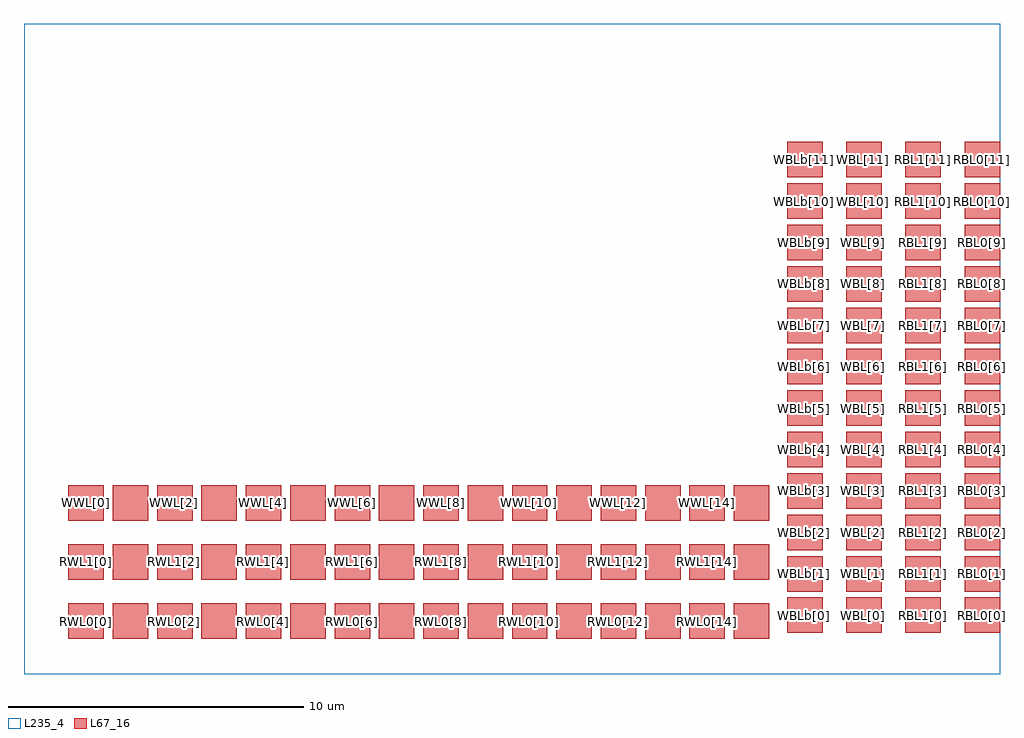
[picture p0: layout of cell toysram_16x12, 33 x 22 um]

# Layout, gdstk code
import gdstk
lib = gdstk.Library(unit=1e-6, precision=1e-09)
def R(c, l, rs):  # rectangles x0, y0, x1, y1
    for r in rs: c.add(gdstk.rectangle(r[:2], r[2:], *l))
L67_16 = (67, 16)
L235_4 = (235, 4)

rwl0_0_ = lib.new_cell('RWL0[0]')
R(rwl0_0_, L67_16, [(1.5,1.2,2.7,2.4)])

rwl0_1_ = lib.new_cell('RWL0[1]')
R(rwl0_1_, L67_16, [(3,1.2,4.2,2.4)])

rwl0_2_ = lib.new_cell('RWL0[2]')
R(rwl0_2_, L67_16, [(4.5,1.2,5.7,2.4)])

rwl0_3_ = lib.new_cell('RWL0[3]')
R(rwl0_3_, L67_16, [(6,1.2,7.2,2.4)])

rwl0_4_ = lib.new_cell('RWL0[4]')
R(rwl0_4_, L67_16, [(7.5,1.2,8.7,2.4)])

rwl0_5_ = lib.new_cell('RWL0[5]')
R(rwl0_5_, L67_16, [(9,1.2,10.2,2.4)])

rwl0_6_ = lib.new_cell('RWL0[6]')
R(rwl0_6_, L67_16, [(10.5,1.2,11.7,2.4)])

rwl0_7_ = lib.new_cell('RWL0[7]')
R(rwl0_7_, L67_16, [(12,1.2,13.2,2.4)])

rwl0_8_ = lib.new_cell('RWL0[8]')
R(rwl0_8_, L67_16, [(13.5,1.2,14.7,2.4)])

rwl0_9_ = lib.new_cell('RWL0[9]')
R(rwl0_9_, L67_16, [(15,1.2,16.2,2.4)])

rwl0_10_ = lib.new_cell('RWL0[10]')
R(rwl0_10_, L67_16, [(16.5,1.2,17.7,2.4)])

rwl0_11_ = lib.new_cell('RWL0[11]')
R(rwl0_11_, L67_16, [(18,1.2,19.2,2.4)])

rwl0_12_ = lib.new_cell('RWL0[12]')
R(rwl0_12_, L67_16, [(19.5,1.2,20.7,2.4)])

rwl0_13_ = lib.new_cell('RWL0[13]')
R(rwl0_13_, L67_16, [(21,1.2,22.2,2.4)])

rwl0_14_ = lib.new_cell('RWL0[14]')
R(rwl0_14_, L67_16, [(22.5,1.2,23.7,2.4)])

rwl0_15_ = lib.new_cell('RWL0[15]')
R(rwl0_15_, L67_16, [(24,1.2,25.2,2.4)])

rwl1_0_ = lib.new_cell('RWL1[0]')
R(rwl1_0_, L67_16, [(1.5,3.2,2.7,4.4)])

rwl1_1_ = lib.new_cell('RWL1[1]')
R(rwl1_1_, L67_16, [(3,3.2,4.2,4.4)])

rwl1_2_ = lib.new_cell('RWL1[2]')
R(rwl1_2_, L67_16, [(4.5,3.2,5.7,4.4)])

rwl1_3_ = lib.new_cell('RWL1[3]')
R(rwl1_3_, L67_16, [(6,3.2,7.2,4.4)])

rwl1_4_ = lib.new_cell('RWL1[4]')
R(rwl1_4_, L67_16, [(7.5,3.2,8.7,4.4)])

rwl1_5_ = lib.new_cell('RWL1[5]')
R(rwl1_5_, L67_16, [(9,3.2,10.2,4.4)])

rwl1_6_ = lib.new_cell('RWL1[6]')
R(rwl1_6_, L67_16, [(10.5,3.2,11.7,4.4)])

rwl1_7_ = lib.new_cell('RWL1[7]')
R(rwl1_7_, L67_16, [(12,3.2,13.2,4.4)])

rwl1_8_ = lib.new_cell('RWL1[8]')
R(rwl1_8_, L67_16, [(13.5,3.2,14.7,4.4)])

rwl1_9_ = lib.new_cell('RWL1[9]')
R(rwl1_9_, L67_16, [(15,3.2,16.2,4.4)])

rwl1_10_ = lib.new_cell('RWL1[10]')
R(rwl1_10_, L67_16, [(16.5,3.2,17.7,4.4)])

rwl1_11_ = lib.new_cell('RWL1[11]')
R(rwl1_11_, L67_16, [(18,3.2,19.2,4.4)])

rwl1_12_ = lib.new_cell('RWL1[12]')
R(rwl1_12_, L67_16, [(19.5,3.2,20.7,4.4)])

rwl1_13_ = lib.new_cell('RWL1[13]')
R(rwl1_13_, L67_16, [(21,3.2,22.2,4.4)])

rwl1_14_ = lib.new_cell('RWL1[14]')
R(rwl1_14_, L67_16, [(22.5,3.2,23.7,4.4)])

rwl1_15_ = lib.new_cell('RWL1[15]')
R(rwl1_15_, L67_16, [(24,3.2,25.2,4.4)])

wwl_0_ = lib.new_cell('WWL[0]')
R(wwl_0_, L67_16, [(1.5,5.2,2.7,6.4)])

wwl_1_ = lib.new_cell('WWL[1]')
R(wwl_1_, L67_16, [(3,5.2,4.2,6.4)])

wwl_2_ = lib.new_cell('WWL[2]')
R(wwl_2_, L67_16, [(4.5,5.2,5.7,6.4)])

wwl_3_ = lib.new_cell('WWL[3]')
R(wwl_3_, L67_16, [(6,5.2,7.2,6.4)])

wwl_4_ = lib.new_cell('WWL[4]')
R(wwl_4_, L67_16, [(7.5,5.2,8.7,6.4)])

wwl_5_ = lib.new_cell('WWL[5]')
R(wwl_5_, L67_16, [(9,5.2,10.2,6.4)])

wwl_6_ = lib.new_cell('WWL[6]')
R(wwl_6_, L67_16, [(10.5,5.2,11.7,6.4)])

wwl_7_ = lib.new_cell('WWL[7]')
R(wwl_7_, L67_16, [(12,5.2,13.2,6.4)])

wwl_8_ = lib.new_cell('WWL[8]')
R(wwl_8_, L67_16, [(13.5,5.2,14.7,6.4)])

wwl_9_ = lib.new_cell('WWL[9]')
R(wwl_9_, L67_16, [(15,5.2,16.2,6.4)])

wwl_10_ = lib.new_cell('WWL[10]')
R(wwl_10_, L67_16, [(16.5,5.2,17.7,6.4)])

wwl_11_ = lib.new_cell('WWL[11]')
R(wwl_11_, L67_16, [(18,5.2,19.2,6.4)])

wwl_12_ = lib.new_cell('WWL[12]')
R(wwl_12_, L67_16, [(19.5,5.2,20.7,6.4)])

wwl_13_ = lib.new_cell('WWL[13]')
R(wwl_13_, L67_16, [(21,5.2,22.2,6.4)])

wwl_14_ = lib.new_cell('WWL[14]')
R(wwl_14_, L67_16, [(22.5,5.2,23.7,6.4)])

wwl_15_ = lib.new_cell('WWL[15]')
R(wwl_15_, L67_16, [(24,5.2,25.2,6.4)])

rbl0_0_ = lib.new_cell('RBL0[0]')
R(rbl0_0_, L67_16, [(31.8,1.4,33,2.6)])

rbl0_1_ = lib.new_cell('RBL0[1]')
R(rbl0_1_, L67_16, [(31.8,2.8,33,4)])

rbl0_2_ = lib.new_cell('RBL0[2]')
R(rbl0_2_, L67_16, [(31.8,4.2,33,5.4)])

rbl0_3_ = lib.new_cell('RBL0[3]')
R(rbl0_3_, L67_16, [(31.8,5.6,33,6.8)])

rbl0_4_ = lib.new_cell('RBL0[4]')
R(rbl0_4_, L67_16, [(31.8,7,33,8.2)])

rbl0_5_ = lib.new_cell('RBL0[5]')
R(rbl0_5_, L67_16, [(31.8,8.4,33,9.6)])

rbl0_6_ = lib.new_cell('RBL0[6]')
R(rbl0_6_, L67_16, [(31.8,9.8,33,11)])

rbl0_7_ = lib.new_cell('RBL0[7]')
R(rbl0_7_, L67_16, [(31.8,11.2,33,12.4)])

rbl0_8_ = lib.new_cell('RBL0[8]')
R(rbl0_8_, L67_16, [(31.8,12.6,33,13.8)])

rbl0_9_ = lib.new_cell('RBL0[9]')
R(rbl0_9_, L67_16, [(31.8,14,33,15.2)])

rbl0_10_ = lib.new_cell('RBL0[10]')
R(rbl0_10_, L67_16, [(31.8,15.4,33,16.6)])

rbl0_11_ = lib.new_cell('RBL0[11]')
R(rbl0_11_, L67_16, [(31.8,16.8,33,18)])

rbl1_0_ = lib.new_cell('RBL1[0]')
R(rbl1_0_, L67_16, [(29.8,1.4,31,2.6)])

rbl1_1_ = lib.new_cell('RBL1[1]')
R(rbl1_1_, L67_16, [(29.8,2.8,31,4)])

rbl1_2_ = lib.new_cell('RBL1[2]')
R(rbl1_2_, L67_16, [(29.8,4.2,31,5.4)])

rbl1_3_ = lib.new_cell('RBL1[3]')
R(rbl1_3_, L67_16, [(29.8,5.6,31,6.8)])

rbl1_4_ = lib.new_cell('RBL1[4]')
R(rbl1_4_, L67_16, [(29.8,7,31,8.2)])

rbl1_5_ = lib.new_cell('RBL1[5]')
R(rbl1_5_, L67_16, [(29.8,8.4,31,9.6)])

rbl1_6_ = lib.new_cell('RBL1[6]')
R(rbl1_6_, L67_16, [(29.8,9.8,31,11)])

rbl1_7_ = lib.new_cell('RBL1[7]')
R(rbl1_7_, L67_16, [(29.8,11.2,31,12.4)])

rbl1_8_ = lib.new_cell('RBL1[8]')
R(rbl1_8_, L67_16, [(29.8,12.6,31,13.8)])

rbl1_9_ = lib.new_cell('RBL1[9]')
R(rbl1_9_, L67_16, [(29.8,14,31,15.2)])

rbl1_10_ = lib.new_cell('RBL1[10]')
R(rbl1_10_, L67_16, [(29.8,15.4,31,16.6)])

rbl1_11_ = lib.new_cell('RBL1[11]')
R(rbl1_11_, L67_16, [(29.8,16.8,31,18)])

wbl_0_ = lib.new_cell('WBL[0]')
R(wbl_0_, L67_16, [(27.8,1.4,29,2.6)])

wbl_1_ = lib.new_cell('WBL[1]')
R(wbl_1_, L67_16, [(27.8,2.8,29,4)])

wbl_2_ = lib.new_cell('WBL[2]')
R(wbl_2_, L67_16, [(27.8,4.2,29,5.4)])

wbl_3_ = lib.new_cell('WBL[3]')
R(wbl_3_, L67_16, [(27.8,5.6,29,6.8)])

wbl_4_ = lib.new_cell('WBL[4]')
R(wbl_4_, L67_16, [(27.8,7,29,8.2)])

wbl_5_ = lib.new_cell('WBL[5]')
R(wbl_5_, L67_16, [(27.8,8.4,29,9.6)])

wbl_6_ = lib.new_cell('WBL[6]')
R(wbl_6_, L67_16, [(27.8,9.8,29,11)])

wbl_7_ = lib.new_cell('WBL[7]')
R(wbl_7_, L67_16, [(27.8,11.2,29,12.4)])

wbl_8_ = lib.new_cell('WBL[8]')
R(wbl_8_, L67_16, [(27.8,12.6,29,13.8)])

wbl_9_ = lib.new_cell('WBL[9]')
R(wbl_9_, L67_16, [(27.8,14,29,15.2)])

wbl_10_ = lib.new_cell('WBL[10]')
R(wbl_10_, L67_16, [(27.8,15.4,29,16.6)])

wbl_11_ = lib.new_cell('WBL[11]')
R(wbl_11_, L67_16, [(27.8,16.8,29,18)])

wblb_0_ = lib.new_cell('WBLb[0]')
R(wblb_0_, L67_16, [(25.8,1.4,27,2.6)])

wblb_1_ = lib.new_cell('WBLb[1]')
R(wblb_1_, L67_16, [(25.8,2.8,27,4)])

wblb_2_ = lib.new_cell('WBLb[2]')
R(wblb_2_, L67_16, [(25.8,4.2,27,5.4)])

wblb_3_ = lib.new_cell('WBLb[3]')
R(wblb_3_, L67_16, [(25.8,5.6,27,6.8)])

wblb_4_ = lib.new_cell('WBLb[4]')
R(wblb_4_, L67_16, [(25.8,7,27,8.2)])

wblb_5_ = lib.new_cell('WBLb[5]')
R(wblb_5_, L67_16, [(25.8,8.4,27,9.6)])

wblb_6_ = lib.new_cell('WBLb[6]')
R(wblb_6_, L67_16, [(25.8,9.8,27,11)])

wblb_7_ = lib.new_cell('WBLb[7]')
R(wblb_7_, L67_16, [(25.8,11.2,27,12.4)])

wblb_8_ = lib.new_cell('WBLb[8]')
R(wblb_8_, L67_16, [(25.8,12.6,27,13.8)])

wblb_9_ = lib.new_cell('WBLb[9]')
R(wblb_9_, L67_16, [(25.8,14,27,15.2)])

wblb_10_ = lib.new_cell('WBLb[10]')
R(wblb_10_, L67_16, [(25.8,15.4,27,16.6)])

wblb_11_ = lib.new_cell('WBLb[11]')
R(wblb_11_, L67_16, [(25.8,16.8,27,18)])

toysram_16x12 = lib.new_cell('toysram_16x12')
R(toysram_16x12, L235_4, [(0,0,33,22)])
toysram_16x12.add(gdstk.Reference(rwl0_0_, (0,0)))
toysram_16x12.add(gdstk.Reference(rwl0_1_, (0,0)))
toysram_16x12.add(gdstk.Reference(rwl0_2_, (0,0)))
toysram_16x12.add(gdstk.Reference(rwl0_3_, (0,0)))
toysram_16x12.add(gdstk.Reference(rwl0_4_, (0,0)))
toysram_16x12.add(gdstk.Reference(rwl0_5_, (0,0)))
toysram_16x12.add(gdstk.Reference(rwl0_6_, (0,0)))
toysram_16x12.add(gdstk.Reference(rwl0_7_, (0,0)))
toysram_16x12.add(gdstk.Reference(rwl0_8_, (0,0)))
toysram_16x12.add(gdstk.Reference(rwl0_9_, (0,0)))
toysram_16x12.add(gdstk.Reference(rwl0_10_, (0,0)))
toysram_16x12.add(gdstk.Reference(rwl0_11_, (0,0)))
toysram_16x12.add(gdstk.Reference(rwl0_12_, (0,0)))
toysram_16x12.add(gdstk.Reference(rwl0_13_, (0,0)))
toysram_16x12.add(gdstk.Reference(rwl0_14_, (0,0)))
toysram_16x12.add(gdstk.Reference(rwl0_15_, (0,0)))
toysram_16x12.add(gdstk.Reference(rwl1_0_, (0,0)))
toysram_16x12.add(gdstk.Reference(rwl1_1_, (0,0)))
toysram_16x12.add(gdstk.Reference(rwl1_2_, (0,0)))
toysram_16x12.add(gdstk.Reference(rwl1_3_, (0,0)))
toysram_16x12.add(gdstk.Reference(rwl1_4_, (0,0)))
toysram_16x12.add(gdstk.Reference(rwl1_5_, (0,0)))
toysram_16x12.add(gdstk.Reference(rwl1_6_, (0,0)))
toysram_16x12.add(gdstk.Reference(rwl1_7_, (0,0)))
toysram_16x12.add(gdstk.Reference(rwl1_8_, (0,0)))
toysram_16x12.add(gdstk.Reference(rwl1_9_, (0,0)))
toysram_16x12.add(gdstk.Reference(rwl1_10_, (0,0)))
toysram_16x12.add(gdstk.Reference(rwl1_11_, (0,0)))
toysram_16x12.add(gdstk.Reference(rwl1_12_, (0,0)))
toysram_16x12.add(gdstk.Reference(rwl1_13_, (0,0)))
toysram_16x12.add(gdstk.Reference(rwl1_14_, (0,0)))
toysram_16x12.add(gdstk.Reference(rwl1_15_, (0,0)))
toysram_16x12.add(gdstk.Reference(wwl_0_, (0,0)))
toysram_16x12.add(gdstk.Reference(wwl_1_, (0,0)))
toysram_16x12.add(gdstk.Reference(wwl_2_, (0,0)))
toysram_16x12.add(gdstk.Reference(wwl_3_, (0,0)))
toysram_16x12.add(gdstk.Reference(wwl_4_, (0,0)))
toysram_16x12.add(gdstk.Reference(wwl_5_, (0,0)))
toysram_16x12.add(gdstk.Reference(wwl_6_, (0,0)))
toysram_16x12.add(gdstk.Reference(wwl_7_, (0,0)))
toysram_16x12.add(gdstk.Reference(wwl_8_, (0,0)))
toysram_16x12.add(gdstk.Reference(wwl_9_, (0,0)))
toysram_16x12.add(gdstk.Reference(wwl_10_, (0,0)))
toysram_16x12.add(gdstk.Reference(wwl_11_, (0,0)))
toysram_16x12.add(gdstk.Reference(wwl_12_, (0,0)))
toysram_16x12.add(gdstk.Reference(wwl_13_, (0,0)))
toysram_16x12.add(gdstk.Reference(wwl_14_, (0,0)))
toysram_16x12.add(gdstk.Reference(wwl_15_, (0,0)))
toysram_16x12.add(gdstk.Reference(rbl0_0_, (0,0)))
toysram_16x12.add(gdstk.Reference(rbl0_1_, (0,0)))
toysram_16x12.add(gdstk.Reference(rbl0_2_, (0,0)))
toysram_16x12.add(gdstk.Reference(rbl0_3_, (0,0)))
toysram_16x12.add(gdstk.Reference(rbl0_4_, (0,0)))
toysram_16x12.add(gdstk.Reference(rbl0_5_, (0,0)))
toysram_16x12.add(gdstk.Reference(rbl0_6_, (0,0)))
toysram_16x12.add(gdstk.Reference(rbl0_7_, (0,0)))
toysram_16x12.add(gdstk.Reference(rbl0_8_, (0,0)))
toysram_16x12.add(gdstk.Reference(rbl0_9_, (0,0)))
toysram_16x12.add(gdstk.Reference(rbl0_10_, (0,0)))
toysram_16x12.add(gdstk.Reference(rbl0_11_, (0,0)))
toysram_16x12.add(gdstk.Reference(rbl1_0_, (0,0)))
toysram_16x12.add(gdstk.Reference(rbl1_1_, (0,0)))
toysram_16x12.add(gdstk.Reference(rbl1_2_, (0,0)))
toysram_16x12.add(gdstk.Reference(rbl1_3_, (0,0)))
toysram_16x12.add(gdstk.Reference(rbl1_4_, (0,0)))
toysram_16x12.add(gdstk.Reference(rbl1_5_, (0,0)))
toysram_16x12.add(gdstk.Reference(rbl1_6_, (0,0)))
toysram_16x12.add(gdstk.Reference(rbl1_7_, (0,0)))
toysram_16x12.add(gdstk.Reference(rbl1_8_, (0,0)))
toysram_16x12.add(gdstk.Reference(rbl1_9_, (0,0)))
toysram_16x12.add(gdstk.Reference(rbl1_10_, (0,0)))
toysram_16x12.add(gdstk.Reference(rbl1_11_, (0,0)))
toysram_16x12.add(gdstk.Reference(wbl_0_, (0,0)))
toysram_16x12.add(gdstk.Reference(wbl_1_, (0,0)))
toysram_16x12.add(gdstk.Reference(wbl_2_, (0,0)))
toysram_16x12.add(gdstk.Reference(wbl_3_, (0,0)))
toysram_16x12.add(gdstk.Reference(wbl_4_, (0,0)))
toysram_16x12.add(gdstk.Reference(wbl_5_, (0,0)))
toysram_16x12.add(gdstk.Reference(wbl_6_, (0,0)))
toysram_16x12.add(gdstk.Reference(wbl_7_, (0,0)))
toysram_16x12.add(gdstk.Reference(wbl_8_, (0,0)))
toysram_16x12.add(gdstk.Reference(wbl_9_, (0,0)))
toysram_16x12.add(gdstk.Reference(wbl_10_, (0,0)))
toysram_16x12.add(gdstk.Reference(wbl_11_, (0,0)))
toysram_16x12.add(gdstk.Reference(wblb_0_, (0,0)))
toysram_16x12.add(gdstk.Reference(wblb_1_, (0,0)))
toysram_16x12.add(gdstk.Reference(wblb_2_, (0,0)))
toysram_16x12.add(gdstk.Reference(wblb_3_, (0,0)))
toysram_16x12.add(gdstk.Reference(wblb_4_, (0,0)))
toysram_16x12.add(gdstk.Reference(wblb_5_, (0,0)))
toysram_16x12.add(gdstk.Reference(wblb_6_, (0,0)))
toysram_16x12.add(gdstk.Reference(wblb_7_, (0,0)))
toysram_16x12.add(gdstk.Reference(wblb_8_, (0,0)))
toysram_16x12.add(gdstk.Reference(wblb_9_, (0,0)))
toysram_16x12.add(gdstk.Reference(wblb_10_, (0,0)))
toysram_16x12.add(gdstk.Reference(wblb_11_, (0,0)))
toysram_16x12.add(gdstk.Label('RWL0[0]', (2.1,1.8), layer=67, texttype=16))
toysram_16x12.add(gdstk.Label('RWL0[1]', (3.6,1.8), layer=67, texttype=16))
toysram_16x12.add(gdstk.Label('RWL0[2]', (5.1,1.8), layer=67, texttype=16))
toysram_16x12.add(gdstk.Label('RWL0[3]', (6.6,1.8), layer=67, texttype=16))
toysram_16x12.add(gdstk.Label('RWL0[4]', (8.1,1.8), layer=67, texttype=16))
toysram_16x12.add(gdstk.Label('RWL0[5]', (9.6,1.8), layer=67, texttype=16))
toysram_16x12.add(gdstk.Label('RWL0[6]', (11.1,1.8), layer=67, texttype=16))
toysram_16x12.add(gdstk.Label('RWL0[7]', (12.6,1.8), layer=67, texttype=16))
toysram_16x12.add(gdstk.Label('RWL0[8]', (14.1,1.8), layer=67, texttype=16))
toysram_16x12.add(gdstk.Label('RWL0[9]', (15.6,1.8), layer=67, texttype=16))
toysram_16x12.add(gdstk.Label('RWL0[10]', (17.1,1.8), layer=67, texttype=16))
toysram_16x12.add(gdstk.Label('RWL0[11]', (18.6,1.8), layer=67, texttype=16))
toysram_16x12.add(gdstk.Label('RWL0[12]', (20.1,1.8), layer=67, texttype=16))
toysram_16x12.add(gdstk.Label('RWL0[13]', (21.6,1.8), layer=67, texttype=16))
toysram_16x12.add(gdstk.Label('RWL0[14]', (23.1,1.8), layer=67, texttype=16))
toysram_16x12.add(gdstk.Label('RWL0[15]', (24.6,1.8), layer=67, texttype=16))
toysram_16x12.add(gdstk.Label('RWL1[0]', (2.1,3.8), layer=67, texttype=16))
toysram_16x12.add(gdstk.Label('RWL1[1]', (3.6,3.8), layer=67, texttype=16))
toysram_16x12.add(gdstk.Label('RWL1[2]', (5.1,3.8), layer=67, texttype=16))
toysram_16x12.add(gdstk.Label('RWL1[3]', (6.6,3.8), layer=67, texttype=16))
toysram_16x12.add(gdstk.Label('RWL1[4]', (8.1,3.8), layer=67, texttype=16))
toysram_16x12.add(gdstk.Label('RWL1[5]', (9.6,3.8), layer=67, texttype=16))
toysram_16x12.add(gdstk.Label('RWL1[6]', (11.1,3.8), layer=67, texttype=16))
toysram_16x12.add(gdstk.Label('RWL1[7]', (12.6,3.8), layer=67, texttype=16))
toysram_16x12.add(gdstk.Label('RWL1[8]', (14.1,3.8), layer=67, texttype=16))
toysram_16x12.add(gdstk.Label('RWL1[9]', (15.6,3.8), layer=67, texttype=16))
toysram_16x12.add(gdstk.Label('RWL1[10]', (17.1,3.8), layer=67, texttype=16))
toysram_16x12.add(gdstk.Label('RWL1[11]', (18.6,3.8), layer=67, texttype=16))
toysram_16x12.add(gdstk.Label('RWL1[12]', (20.1,3.8), layer=67, texttype=16))
toysram_16x12.add(gdstk.Label('RWL1[13]', (21.6,3.8), layer=67, texttype=16))
toysram_16x12.add(gdstk.Label('RWL1[14]', (23.1,3.8), layer=67, texttype=16))
toysram_16x12.add(gdstk.Label('RWL1[15]', (24.6,3.8), layer=67, texttype=16))
toysram_16x12.add(gdstk.Label('WWL[0]', (2.1,5.8), layer=67, texttype=16))
toysram_16x12.add(gdstk.Label('WWL[1]', (3.6,5.8), layer=67, texttype=16))
toysram_16x12.add(gdstk.Label('WWL[2]', (5.1,5.8), layer=67, texttype=16))
toysram_16x12.add(gdstk.Label('WWL[3]', (6.6,5.8), layer=67, texttype=16))
toysram_16x12.add(gdstk.Label('WWL[4]', (8.1,5.8), layer=67, texttype=16))
toysram_16x12.add(gdstk.Label('WWL[5]', (9.6,5.8), layer=67, texttype=16))
toysram_16x12.add(gdstk.Label('WWL[6]', (11.1,5.8), layer=67, texttype=16))
toysram_16x12.add(gdstk.Label('WWL[7]', (12.6,5.8), layer=67, texttype=16))
toysram_16x12.add(gdstk.Label('WWL[8]', (14.1,5.8), layer=67, texttype=16))
toysram_16x12.add(gdstk.Label('WWL[9]', (15.6,5.8), layer=67, texttype=16))
toysram_16x12.add(gdstk.Label('WWL[10]', (17.1,5.8), layer=67, texttype=16))
toysram_16x12.add(gdstk.Label('WWL[11]', (18.6,5.8), layer=67, texttype=16))
toysram_16x12.add(gdstk.Label('WWL[12]', (20.1,5.8), layer=67, texttype=16))
toysram_16x12.add(gdstk.Label('WWL[13]', (21.6,5.8), layer=67, texttype=16))
toysram_16x12.add(gdstk.Label('WWL[14]', (23.1,5.8), layer=67, texttype=16))
toysram_16x12.add(gdstk.Label('WWL[15]', (24.6,5.8), layer=67, texttype=16))
toysram_16x12.add(gdstk.Label('RBL0[0]', (32.4,2), layer=67, texttype=16))
toysram_16x12.add(gdstk.Label('RBL0[1]', (32.4,3.4), layer=67, texttype=16))
toysram_16x12.add(gdstk.Label('RBL0[2]', (32.4,4.8), layer=67, texttype=16))
toysram_16x12.add(gdstk.Label('RBL0[3]', (32.4,6.2), layer=67, texttype=16))
toysram_16x12.add(gdstk.Label('RBL0[4]', (32.4,7.6), layer=67, texttype=16))
toysram_16x12.add(gdstk.Label('RBL0[5]', (32.4,9), layer=67, texttype=16))
toysram_16x12.add(gdstk.Label('RBL0[6]', (32.4,10.4), layer=67, texttype=16))
toysram_16x12.add(gdstk.Label('RBL0[7]', (32.4,11.8), layer=67, texttype=16))
toysram_16x12.add(gdstk.Label('RBL0[8]', (32.4,13.2), layer=67, texttype=16))
toysram_16x12.add(gdstk.Label('RBL0[9]', (32.4,14.6), layer=67, texttype=16))
toysram_16x12.add(gdstk.Label('RBL0[10]', (32.4,16), layer=67, texttype=16))
toysram_16x12.add(gdstk.Label('RBL0[11]', (32.4,17.4), layer=67, texttype=16))
toysram_16x12.add(gdstk.Label('RBL1[0]', (30.4,2), layer=67, texttype=16))
toysram_16x12.add(gdstk.Label('RBL1[1]', (30.4,3.4), layer=67, texttype=16))
toysram_16x12.add(gdstk.Label('RBL1[2]', (30.4,4.8), layer=67, texttype=16))
toysram_16x12.add(gdstk.Label('RBL1[3]', (30.4,6.2), layer=67, texttype=16))
toysram_16x12.add(gdstk.Label('RBL1[4]', (30.4,7.6), layer=67, texttype=16))
toysram_16x12.add(gdstk.Label('RBL1[5]', (30.4,9), layer=67, texttype=16))
toysram_16x12.add(gdstk.Label('RBL1[6]', (30.4,10.4), layer=67, texttype=16))
toysram_16x12.add(gdstk.Label('RBL1[7]', (30.4,11.8), layer=67, texttype=16))
toysram_16x12.add(gdstk.Label('RBL1[8]', (30.4,13.2), layer=67, texttype=16))
toysram_16x12.add(gdstk.Label('RBL1[9]', (30.4,14.6), layer=67, texttype=16))
toysram_16x12.add(gdstk.Label('RBL1[10]', (30.4,16), layer=67, texttype=16))
toysram_16x12.add(gdstk.Label('RBL1[11]', (30.4,17.4), layer=67, texttype=16))
toysram_16x12.add(gdstk.Label('WBL[0]', (28.4,2), layer=67, texttype=16))
toysram_16x12.add(gdstk.Label('WBL[1]', (28.4,3.4), layer=67, texttype=16))
toysram_16x12.add(gdstk.Label('WBL[2]', (28.4,4.8), layer=67, texttype=16))
toysram_16x12.add(gdstk.Label('WBL[3]', (28.4,6.2), layer=67, texttype=16))
toysram_16x12.add(gdstk.Label('WBL[4]', (28.4,7.6), layer=67, texttype=16))
toysram_16x12.add(gdstk.Label('WBL[5]', (28.4,9), layer=67, texttype=16))
toysram_16x12.add(gdstk.Label('WBL[6]', (28.4,10.4), layer=67, texttype=16))
toysram_16x12.add(gdstk.Label('WBL[7]', (28.4,11.8), layer=67, texttype=16))
toysram_16x12.add(gdstk.Label('WBL[8]', (28.4,13.2), layer=67, texttype=16))
toysram_16x12.add(gdstk.Label('WBL[9]', (28.4,14.6), layer=67, texttype=16))
toysram_16x12.add(gdstk.Label('WBL[10]', (28.4,16), layer=67, texttype=16))
toysram_16x12.add(gdstk.Label('WBL[11]', (28.4,17.4), layer=67, texttype=16))
toysram_16x12.add(gdstk.Label('WBLb[0]', (26.4,2), layer=67, texttype=16))
toysram_16x12.add(gdstk.Label('WBLb[1]', (26.4,3.4), layer=67, texttype=16))
toysram_16x12.add(gdstk.Label('WBLb[2]', (26.4,4.8), layer=67, texttype=16))
toysram_16x12.add(gdstk.Label('WBLb[3]', (26.4,6.2), layer=67, texttype=16))
toysram_16x12.add(gdstk.Label('WBLb[4]', (26.4,7.6), layer=67, texttype=16))
toysram_16x12.add(gdstk.Label('WBLb[5]', (26.4,9), layer=67, texttype=16))
toysram_16x12.add(gdstk.Label('WBLb[6]', (26.4,10.4), layer=67, texttype=16))
toysram_16x12.add(gdstk.Label('WBLb[7]', (26.4,11.8), layer=67, texttype=16))
toysram_16x12.add(gdstk.Label('WBLb[8]', (26.4,13.2), layer=67, texttype=16))
toysram_16x12.add(gdstk.Label('WBLb[9]', (26.4,14.6), layer=67, texttype=16))
toysram_16x12.add(gdstk.Label('WBLb[10]', (26.4,16), layer=67, texttype=16))
toysram_16x12.add(gdstk.Label('WBLb[11]', (26.4,17.4), layer=67, texttype=16))

lib.write_gds('toysram_16x12.gds')
